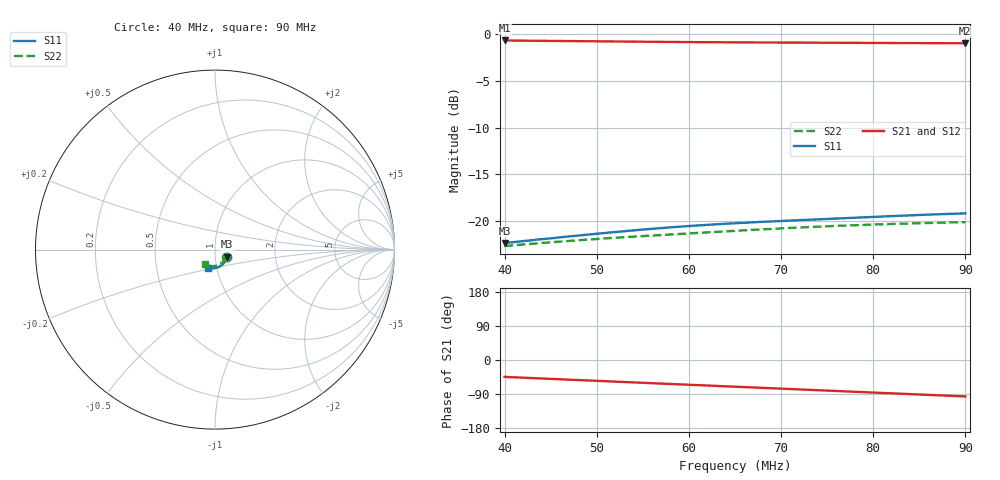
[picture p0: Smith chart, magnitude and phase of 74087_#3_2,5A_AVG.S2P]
!Agilent Technologies,E5061B,MY49102235,A.02.00
!Date: Mon Jul 03 11:14:52 2023
!Data & Calibration Information:
!Freq	S11:SOLT2(ON)	S21:SOLT2(ON)	S12:SOLT2(ON)	S22:SOLT2(ON)
# Hz S RI R 50
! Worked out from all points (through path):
!   1600 points, 40 MHz to 90 MHz, reference 50 ohm
!   highest |S21| = -0.67 dB at 40.03 MHz (marker M1); lowest = -1.0 dB at 89.94 MHz (marker M2)
!   group delay of S21, straight-line fit = 2.86 ns
!   lowest |S11| = -22.4 dB at 40 MHz (marker M3), VSWR 1.16, Z = 56.7 - j4.59 ohm
!   |S11| at or under -10 dB: start of sweep to end of sweep
!   |S22| runs from -22.7 to -20.1 dB; largest |S21 - S12| = 0.00095
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4e7  0.0646 -0.0402  0.6595 -0.6498  0.6596 -0.6491  0.0595 -0.0426
4.003127e7  0.0645 -0.0404  0.6592 -0.6502  0.6593 -0.6494  0.0595 -0.0426
4.087555e7  0.0642 -0.0423  0.6483 -0.6596  0.6486 -0.6589  0.0588 -0.0447
4.450281e7  0.0619 -0.0511  0.601 -0.6979  0.601 -0.6977  0.0551 -0.0531
4.834897e7  0.0581 -0.0604  0.5486 -0.7353  0.5487 -0.735  0.0498 -0.0613
5.225766e7  0.0529 -0.0694  0.4932 -0.7696  0.4934 -0.7692  0.0432 -0.0689
5.482176e7  0.049 -0.0751  0.456 -0.7895  0.4562 -0.7894  0.0382 -0.0734
5.666667e7  0.0458 -0.0789  0.4288 -0.8028  0.4289 -0.8026  0.0343 -0.0763
6.082552e7  0.0376 -0.0866  0.3666 -0.8297  0.3665 -0.8296  0.0251 -0.0824
6.501563e7  0.028 -0.0929  0.3023 -0.8525  0.3024 -0.852  0.0146 -0.0872
6.901814e7  0.0181 -0.0976  0.24 -0.8699  0.2402 -0.8695  0.00381 -0.0906
7.126954e7  0.0122 -0.0997  0.2045 -0.8779  0.2046 -0.8773  -0.00246 -0.0917
7.33646e7  0.0066 -0.1014  0.171 -0.8842  0.1714 -0.8836  -0.00849 -0.0923
7.533458e7  0.00148 -0.1025  0.1395 -0.8888  0.1398 -0.8883  -0.0139 -0.0926
7.746091e7  -0.00434 -0.1035  0.1053 -0.8926  0.1055 -0.8922  -0.0201 -0.0924
7.936836e7  -0.00966 -0.1041  0.0743 -0.8949  0.0747 -0.8946  -0.0254 -0.0918
8.16823e7  -0.016 -0.1046  0.0368 -0.8964  0.0373 -0.8962  -0.0318 -0.0907
8.358974e7  -0.0211 -0.1047  0.00594 -0.8965  0.00635 -0.8962  -0.037 -0.0894
8.596623e7  -0.0275 -0.1044  -0.0324 -0.8949  -0.0322 -0.8949  -0.043 -0.0874
8.971857e7  -0.0374 -0.103  -0.0925 -0.8894  -0.0926 -0.8892  -0.0525 -0.0833
8.993746e7  -0.038 -0.1028  -0.0961 -0.8888  -0.096 -0.8889  -0.0529 -0.083
9e7  -0.0381 -0.1029  -0.0969 -0.8887  -0.0971 -0.8887  -0.0532 -0.083
